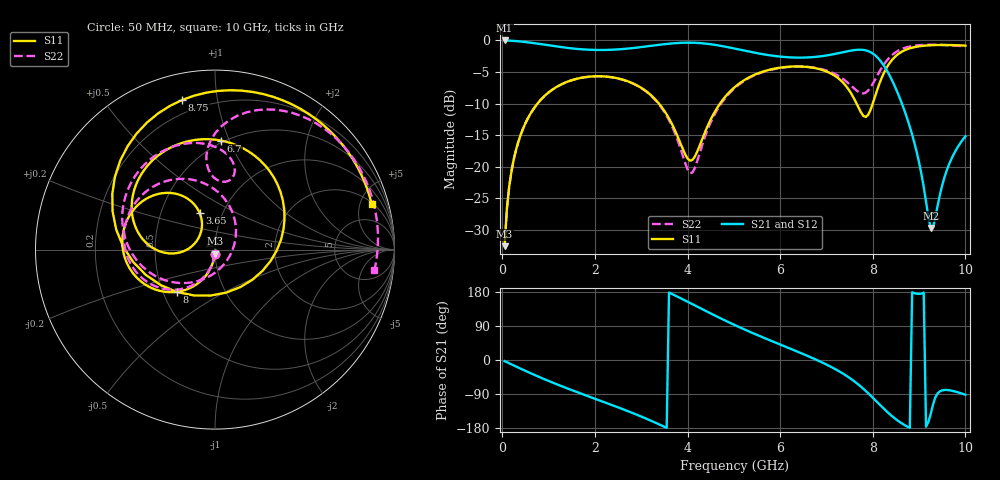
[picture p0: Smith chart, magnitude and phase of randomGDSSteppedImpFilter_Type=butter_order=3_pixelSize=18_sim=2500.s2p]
! freq	dB(S11)	phase(S11)	dB(S12)	phase(S12)
!  dB(S21)	phase(S21)	dB(S22)	phase(S22)
!S-par simulation data
#  GHz  S  DB  R 50
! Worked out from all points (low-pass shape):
!   200 points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, 50 MHz to 10 GHz, reference 50 ohm
!   highest |S21| = -0.01 dB at 50 MHz (marker M1); lowest = -29.7 dB at 9.25 GHz (marker M2)
!   |S21| within 3 dB of the highest: start of sweep to 8.139 GHz
!   lowest |S11| = -32.6 dB at 50 MHz (marker M3), VSWR 1.05, Z = 49.8 - j2.34 ohm
!   |S11| at or under -10 dB: start of sweep to 760.5 MHz; 3.382 GHz to 4.702 GHz (1.319 GHz wide, 32.6 % of centre); 7.65 GHz to 7.999 GHz (348.7 MHz wide, 4.46 % of centre)
!   |S22| runs from -32.6 to -0.7 dB; largest |S21 - S12| = 0
!   S11 on the Smith chart (normalised r, x): 50 MHz: 1.00, -0.05; 3.65 GHz: 0.78, +0.34; 6.7 GHz: 0.48, +0.93; 8 GHz: 0.59, -0.31; 8.75 GHz: 0.13, +0.80; 10 GHz: 2.14, +6.29
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0.05  -32.56 -92.9  -0.01 -3.0  -0.01 -3.0  -32.57 -93.1
0.2  -20.64 -101.7  -0.06 -11.7  -0.06 -11.7  -20.64 -102.5
0.5  -13.11 -118.3  -0.26 -28.7  -0.26 -28.7  -13.11 -120.2
1.1  -7.70 -148.6  -0.89 -60.3  -0.89 -60.3  -7.70 -153.0
1.75  -5.86 -177.5  -1.42 -90.9  -1.42 -90.9  -5.87 174.8
2.7  -6.44 143.5  -1.30 -134.4  -1.30 -134.4  -6.47 127.6
3.4  -10.16 117.2  -0.68 -170.5  -0.68 -170.5  -10.29 83.6
3.65  -13.04 112.7  -0.49 175.1  -0.49 175.1  -13.35 61.1
4.1  -18.95 155.0  -0.36 147.7  -0.36 147.7  -20.95 -41.6
4.55  -11.82 -175.3  -0.66 119.8  -0.66 119.8  -12.21 -130.6
5.05  -7.21 167.8  -1.34 90.5  -1.34 90.5  -7.35 -169.9
5.75  -4.68 135.8  -2.33 53.4  -2.33 53.4  -4.75 149.8
6.7  -4.31 86.9  -2.65 5.1  -2.65 5.1  -4.27 104.4
7.1  -5.25 59.4  -2.26 -18.2  -2.26 -18.2  -5.04 87.2
7.5  -8.01 16.4  -1.65 -47.3  -1.65 -47.3  -6.95 75.8
7.8  -11.97 -56.2  -1.51 -76.3  -1.51 -76.3  -8.40 84.6
8  -9.98 -131.8  -2.07 -99.6  -2.07 -99.6  -6.86 94.9
8.35  -3.73 151.5  -5.37 -141.3  -5.37 -141.3  -2.79 83.7
8.75  -1.38 102.4  -12.52 -176.0  -12.52 -176.0  -1.05 57.3
9.25  -0.77 62.1  -29.68 -142.8  -29.68 -142.8  -0.69 28.9
9.6  -0.73 39.6  -20.52 -79.1  -20.52 -79.1  -0.75 11.5
10  -0.83 16.3  -15.17 -91.7  -15.17 -91.7  -0.96 -7.3
